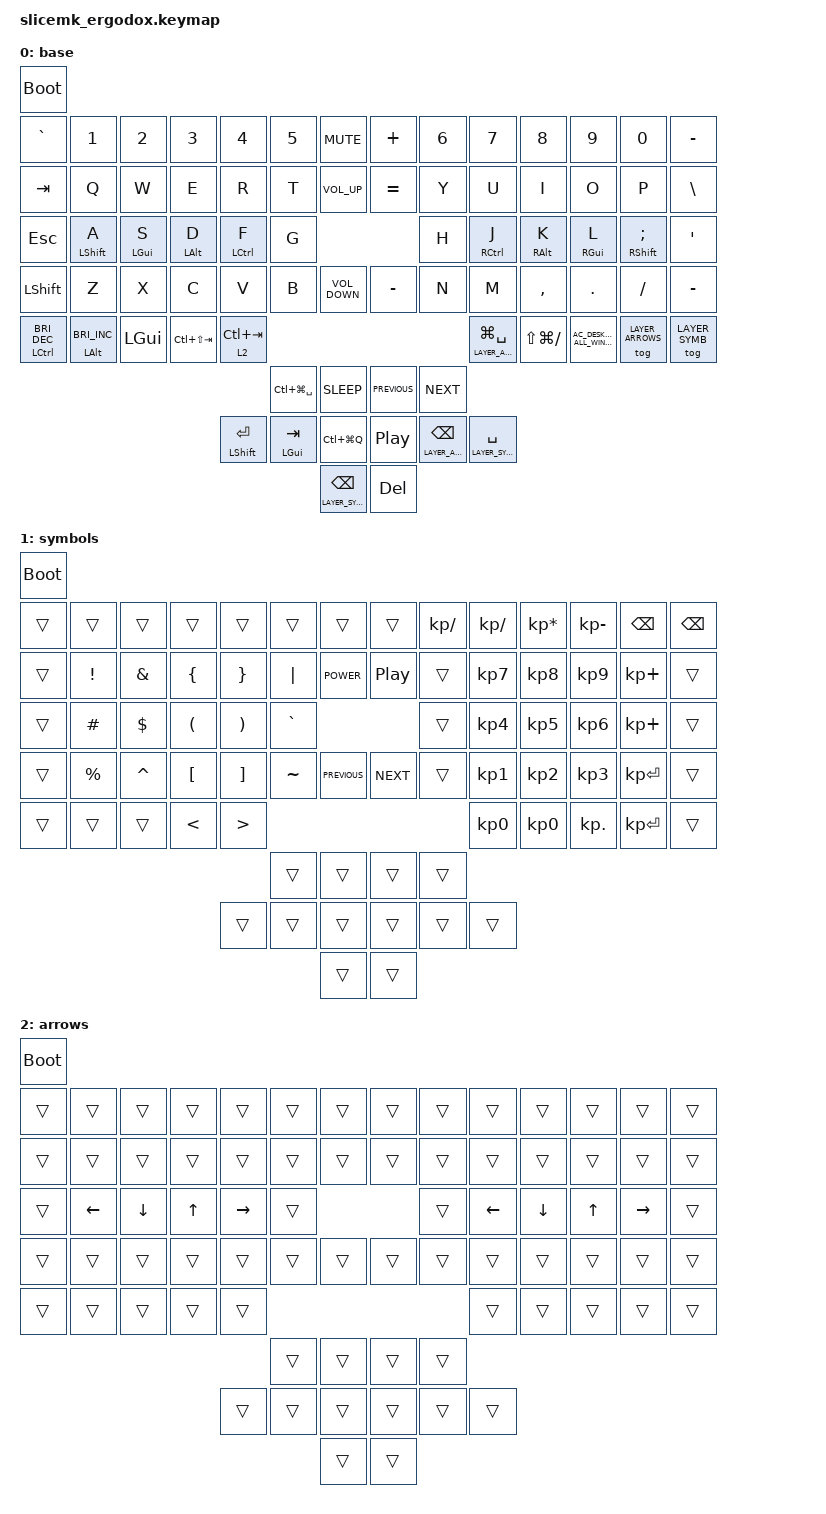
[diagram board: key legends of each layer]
#define LAYER_MAIN 0
#define LAYER_SYMB 1
#define LAYER_ARROWS 2

#include <behaviors.dtsi>
#include <dt-bindings/zmk/keys.h>
#include <dt-bindings/zmk/bt.h>
#include <dt-bindings/zmk/outputs.h>

&lt {
    require-prior-idle-ms = <125>;
    flavor = "balanced";
};

&mt {
    require-prior-idle-ms = <125>;
    flavor = "balanced";
    hold-trigger-on-release;
};

/ {
    behaviors {
        hrr: hrr {
            compatible = "zmk,behavior-hold-tap";
            label = "HRR";
            bindings = <&kp>, <&kp>;

            #binding-cells = <2>;
            tapping-term-ms = <200>;
            require-prior-idle-ms = <120>;
            flavor = "balanced";
            hold-trigger-key-positions = <1 2 3 4 5 6 7 15 16 17 18 19 20 21 29 30 31 32 33 34 41 42 43 44 45 46 47 65 66 69 70 71 75>;
            hold-trigger-on-release;
        };

        hrl: hrl {
            compatible = "zmk,behavior-hold-tap";
            label = "HRL";
            bindings = <&kp>, <&kp>;

            #binding-cells = <2>;
            tapping-term-ms = <200>;
            require-prior-idle-ms = <120>;
            flavor = "balanced";
            hold-trigger-on-release;
            hold-trigger-key-positions = <8 9 10 11 12 13 14 22 23 24 25 26 27 28 35 36 37 38 39 40 48 49 50 51 52 53 54 67 68 72 73 74 76>;
        };
    };
};

/ {
    keymap {
        compatible = "zmk,keymap";

        base {
            bindings = <
&bootloader
&kp GRAVE                          &kp NUMBER_1                   &kp NUMBER_2     &kp NUMBER_3     &kp NUMBER_4           &kp NUMBER_5       &kp C_MUTE                  &kp PLUS          &kp NUMBER_6                &kp NUMBER_7                &kp NUMBER_8       &kp NUMBER_9                       &kp NUMBER_0                &kp MINUS
&kp TAB                            &kp Q                          &kp W            &kp E            &kp R                  &kp T              &kp C_VOLUME_UP             &kp EQUAL         &kp Y                       &kp U                       &kp I              &kp O                              &kp P                       &kp BACKSLASH
&kp ESCAPE                         &hrl LEFT_SHIFT A              &hrl LEFT_GUI S  &hrl LEFT_ALT D  &hrl LCTRL F           &kp G                                                            &kp H                       &hrr RCTRL J                &hrr RIGHT_ALT K   &hrr RIGHT_GUI L                   &hrr RIGHT_SHIFT SEMICOLON  &kp SINGLE_QUOTE
&kp LEFT_SHIFT                     &kp Z                          &kp X            &kp C            &kp V                  &kp B              &kp C_VOLUME_DOWN           &kp MINUS         &kp N                       &kp M                       &kp COMMA          &kp PERIOD                         &kp SLASH                   &kp MINUS
&mt LEFT_CONTROL C_BRIGHTNESS_DEC  &mt LEFT_ALT C_BRIGHTNESS_INC  &kp LEFT_GUI     &kp LC(LS(TAB))  &lt 2 LC(TAB)                                                                                                       &lt LAYER_ARROWS LG(SPACE)  &kp LS(LG(SLASH))  &kp C_AC_DESKTOP_SHOW_ALL_WINDOWS  &tog LAYER_ARROWS           &tog LAYER_SYMB
                                                                                                                           &kp LC(LG(SPACE))  &kp C_SLEEP                 &kp C_PREVIOUS    &kp C_NEXT
                                                                                                    &mt LEFT_SHIFT RETURN  &mt LEFT_GUI TAB   &kp LC(LG(Q))               &kp C_PLAY_PAUSE  &lt LAYER_ARROWS BACKSPACE  &lt LAYER_SYMB SPACE
                                                                                                                                              &lt LAYER_SYMB BACKSPACE    &kp DELETE
            >;
        };

        symbols {
            bindings = <
&bootloader
&trans       &trans           &trans         &trans                &trans                 &trans     &trans            &trans            &kp KP_DIVIDE  &kp KP_DIVIDE    &kp KP_MULTIPLY  &kp KP_MINUS     &kp BACKSPACE  &kp BACKSPACE
&trans       &kp EXCLAMATION  &kp AMPERSAND  &kp LEFT_BRACE        &kp RIGHT_BRACE        &kp PIPE   &kp C_POWER       &kp C_PLAY_PAUSE  &trans         &kp KP_NUMBER_7  &kp KP_NUMBER_8  &kp KP_NUMBER_9  &kp KP_PLUS    &trans
&trans       &kp HASH         &kp DOLLAR     &kp LEFT_PARENTHESIS  &kp RIGHT_PARENTHESIS  &kp GRAVE                                      &trans         &kp KP_NUMBER_4  &kp KP_NUMBER_5  &kp KP_NUMBER_6  &kp KP_PLUS    &trans
&trans       &kp PERCENT      &kp CARET      &kp LEFT_BRACKET      &kp RIGHT_BRACKET      &kp TILDE  &kp C_PREVIOUS    &kp C_NEXT        &trans         &kp KP_NUMBER_1  &kp KP_NUMBER_2  &kp KP_NUMBER_3  &kp KP_ENTER   &trans
&trans       &trans           &trans         &kp LESS_THAN         &kp GREATER_THAN                                                                     &kp KP_NUMBER_0  &kp KP_NUMBER_0  &kp KP_DOT       &kp KP_ENTER   &trans
                                                                                          &trans     &trans            &trans            &trans
                                                                   &trans                 &trans     &trans            &trans            &trans         &trans
                                                                                                     &trans            &trans
            >;
        };

        arrows {
            bindings = <
&bootloader
&trans       &trans    &trans    &trans  &trans     &trans  &trans    &trans  &trans  &trans          &trans          &trans        &trans           &trans
&trans       &trans    &trans    &trans  &trans     &trans  &trans    &trans  &trans  &trans          &trans          &trans        &trans           &trans
&trans       &kp LEFT  &kp DOWN  &kp UP  &kp RIGHT  &trans                    &trans  &kp LEFT_ARROW  &kp DOWN_ARROW  &kp UP_ARROW  &kp RIGHT_ARROW  &trans
&trans       &trans    &trans    &trans  &trans     &trans  &trans    &trans  &trans  &trans          &trans          &trans        &trans           &trans
&trans       &trans    &trans    &trans  &trans                                       &trans          &trans          &trans        &trans           &trans
                                                    &trans  &trans    &trans  &trans
                                         &trans     &trans  &trans    &trans  &trans  &trans
                                                            &trans    &trans
            >;
        };
    };
};
